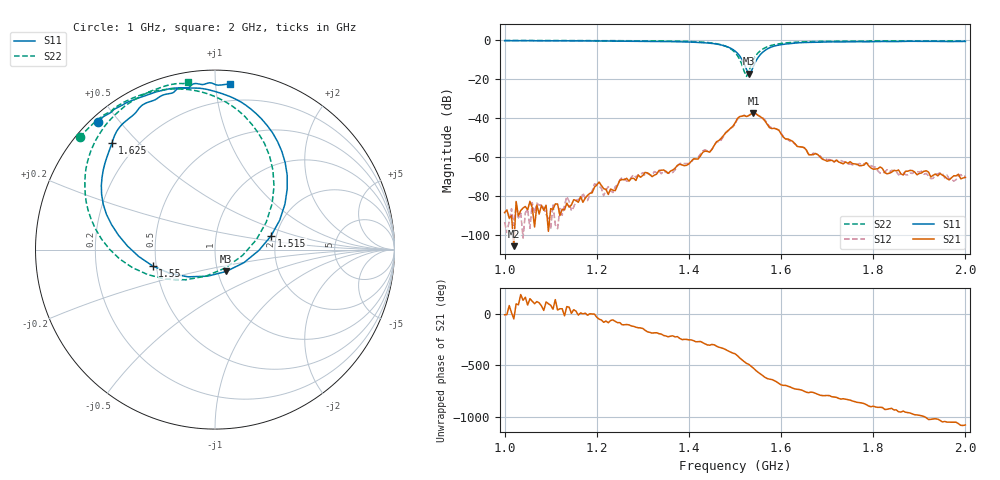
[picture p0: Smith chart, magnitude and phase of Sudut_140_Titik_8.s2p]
# Hz S RI R 50
! CMT, C1220, 16058040, 17.2.0/1
! Date: 14/08/2018 12:06:11
! Data: Format (Calibration Info)
! Freq  S11: Re/Im (F2)  S21: Re/Im (F2)  S12: Re/Im (F2)  S22: Re/Im (F2)
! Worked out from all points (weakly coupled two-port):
!   201 points, 1 GHz to 2 GHz, reference 50 ohm
!   highest |S21| = -37.47 dB at 1.54 GHz (marker M1); lowest = -105.6 dB at 1.02 GHz (marker M2)
!   lowest |S11| = -17.3 dB at 1.53 GHz (marker M3), VSWR 1.32, Z = 54.9 - j13.6 ohm
!   |S11| at or under -10 dB: 1.515 GHz to 1.547 GHz (31.92 MHz wide, 2.08 % of centre)
!   |S22| runs from -18.6 to -0.2 dB; largest |S21 - S12| = 0.00056
!   S11 on the Smith chart (normalised r, x): 1 GHz: 0.02, +0.44; 1.515 GHz: 1.87, +0.32; 1.55 GHz: 0.48, -0.10; 1.625 GHz: 0.11, +0.42; 2 GHz: 0.09, +1.09
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1e9  -0.6545 0.7099  3.78e-05 -3.41e-06  1.05e-05 1.91e-05  -0.7534 0.6257
1.02e9  -0.6348 0.7258  3.67e-06 -3.74e-06  -1.77e-05 1.25e-06  -0.7394 0.6407
1.17e9  -0.4862 0.8216  6.97e-05 3.6e-06  0.000115 4.13e-05  -0.6163 0.7514
1.185e9  -0.4625 0.8306  0.000118 1.08e-05  0.000109 -3.98e-07  -0.599 0.761
1.195e9  -0.4497 0.8352  0.000171 4.83e-06  0.000205 -2.65e-05  -0.5867 0.7648
1.215e9  -0.4315 0.8429  3.18e-05 -0.000152  6.22e-05 -8.09e-05  -0.5754 0.7732
1.225e9  -0.4168 0.8482  1.31e-05 -0.00011  5.2e-05 -0.000168  -0.5661 0.7839
1.235e9  -0.3975 0.8544  8.25e-05 -0.000117  3.57e-05 -0.000119  -0.5545 0.793
1.255e9  -0.3622 0.8669  -5.82e-05 -0.000261  3.97e-05 -0.000304  -0.5288 0.8089
1.335e9  -0.229 0.8994  -0.00045 7.86e-05  -0.000432 0.000124  -0.3996 0.8662
1.445e9  0.1463 0.8214  0.00072 0.00114  0.000792 0.00112  -0.00765 0.8557
1.5e9  0.4023 0.3383  0.00671 -0.00325  0.00626 -0.00304  0.3288 0.3523
1.515e9  0.3121 0.076  0.000989 -0.0112  0.00128 -0.0112  0.2301 0.0549
1.525e9  0.161 -0.0728  -0.00553 -0.0095  -0.00555 -0.00967  0.0582 -0.102
1.53e9  0.0629 -0.1216  -0.00742 -0.009  -0.00748 -0.00907  -0.0509 -0.148
1.54e9  -0.1501 -0.1517  -0.013 -0.00305  -0.0128 -0.00303  -0.2748 -0.1645
1.55e9  -0.347 -0.0914  -0.0105 0.0053  -0.0107 0.0049  -0.4602 -0.1003
1.58e9  -0.6229 0.2536  0.000773 0.00536  0.00105 0.00556  -0.7062 0.2166
1.625e9  -0.5735 0.5952  0.00255 -8.47e-05  0.00244 4.11e-05  -0.7012 0.5215
1.67e9  -0.463 0.7433  0.000832 -0.000814  0.000883 -0.000899  -0.6245 0.6734
1.835e9  -0.1605 0.8994  -0.000356 0.000156  -0.000393 0.000149  -0.3756 0.8747
2e9  0.0863 0.921  0.000302 -1.21e-05  0.000325 -5.28e-05  -0.1505 0.9336
